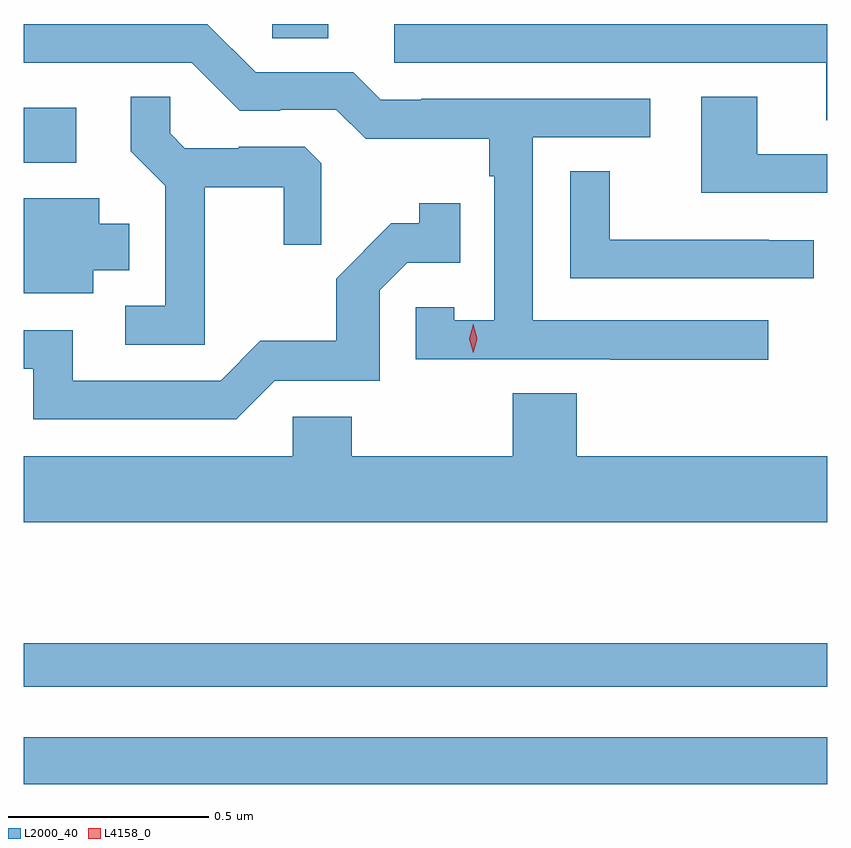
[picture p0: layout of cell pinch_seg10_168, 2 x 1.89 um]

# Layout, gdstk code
import gdstk
lib = gdstk.Library(unit=1e-6, precision=1e-09)
def R(c, l, rs):  # rectangles x0, y0, x1, y1
    for r in rs: c.add(gdstk.rectangle(r[:2], r[2:], *l))
def P(c, l, *ps):  # polygons
    for p in ps: c.add(gdstk.Polygon(p, *l))
L2000_40 = (2000, 40)
L4158_0 = (4158, 0)

pinch_seg10_168 = lib.new_cell('pinch_seg10_168')
R(pinch_seg10_168, L2000_40, [(754.301,1274.356,756.301,1274.472), (754.301,1274.598,756.301,1274.707), (754.301,1275.903,754.432,1276.039), (754.92,1276.213,755.059,1276.248)])
P(pinch_seg10_168, L2000_40, [(756.301,1276.248),(755.223,1276.248),(755.223,1276.152),(756.299,1276.152),(756.299,1276.009),(756.301,1276.009)],
  [(756.154,1275.51),(755.568,1275.51),(755.568,1275.966),(755.86,1275.966),(755.86,1276.062),(755.29,1276.062),(755.29,1276.059),(755.19,1276.059),(755.121,1276.128),(754.878,1276.128),(754.758,1276.248),(754.301,1276.248),(754.301,1276.152),(754.719,1276.152),(754.839,1276.032),(754.94,1276.032),(754.94,1276.035),(755.079,1276.035),(755.152,1275.962),(755.46,1275.962),(755.46,1275.869),(755.472,1275.869),(755.472,1275.511),(755.373,1275.511),(755.373,1275.543),(755.277,1275.543),(755.277,1275.414),(755.761,1275.414),(755.761,1275.412),(756.154,1275.412)],
  [(754.751,1275.842),(754.948,1275.842),(754.948,1275.699),(755.042,1275.699),(755.042,1275.901),(755.001,1275.942),(754.836,1275.942),(754.836,1275.939),(754.702,1275.939),(754.665,1275.976),(754.665,1276.067),(754.567,1276.067),(754.567,1275.931),(754.653,1275.845),(754.653,1275.546),(754.554,1275.546),(754.554,1275.45),(754.751,1275.45)],
  [(756.301,1275.924),(756.127,1275.924),(756.127,1276.067),(755.987,1276.067),(755.987,1275.828),(756.301,1275.828)],
  [(756.268,1275.71),(756.155,1275.71),(756.155,1275.711),(755.76,1275.711),(755.76,1275.881),(755.661,1275.881),(755.661,1275.615),(756.268,1275.615)],
  [(754.474,1275.635),(754.564,1275.635),(754.564,1275.751),(754.489,1275.751),(754.489,1275.814),(754.301,1275.814),(754.301,1275.578),(754.474,1275.578)],
  [(754.926,1275.36),(755.187,1275.36),(755.187,1275.585),(755.256,1275.654),(755.387,1275.654),(755.387,1275.802),(755.286,1275.802),(755.286,1275.752),(755.216,1275.752),(755.079,1275.614),(755.079,1275.459),(754.89,1275.459),(754.791,1275.36),(754.423,1275.36),(754.423,1275.486),(754.301,1275.486),(754.301,1275.39),(754.325,1275.39),(754.325,1275.264),(754.83,1275.264)],
  [(756.301,1275.172),(755.678,1275.172),(755.678,1275.329),(755.518,1275.329),(755.518,1275.172),(755.118,1275.172),(755.118,1275.27),(754.971,1275.27),(754.971,1275.172),(754.301,1275.172),(754.301,1275.008),(756.301,1275.008)])
P(pinch_seg10_168, L4158_0, [(755.42,1275.429),(755.42,1275.429),(755.41,1275.465),(755.42,1275.501),(755.42,1275.502),(755.42,1275.501),(755.43,1275.465),(755.42,1275.429)])

lib.write_gds('pinch_seg10_168.gds')
